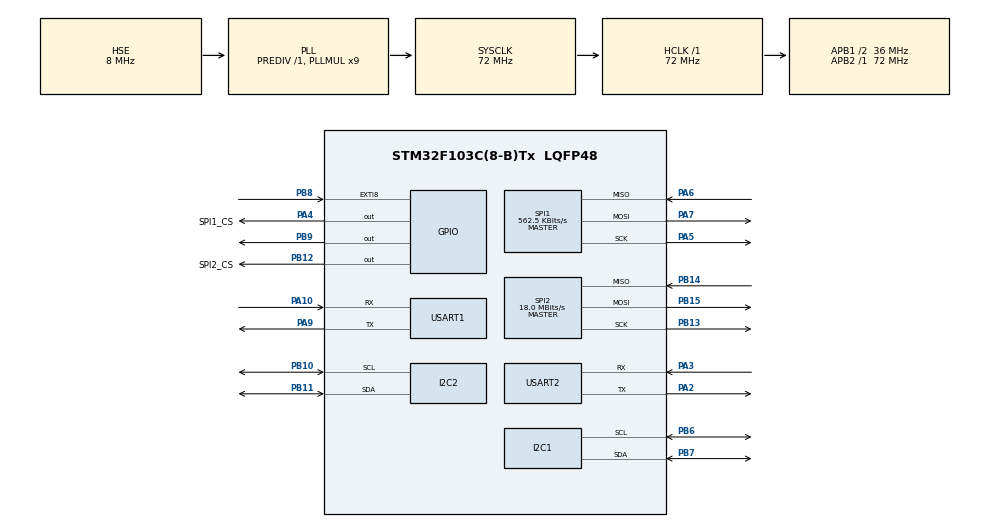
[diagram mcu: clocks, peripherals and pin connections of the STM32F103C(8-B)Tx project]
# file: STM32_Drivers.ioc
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Dma.Request0=SPI1_RX
Dma.Request1=SPI1_TX
Dma.Request2=USART1_RX
Dma.Request3=USART1_TX
Dma.SPI1_RX.0.Direction=DMA_PERIPH_TO_MEMORY
Dma.SPI1_RX.0.Instance=DMA1_Channel2
Dma.SPI1_RX.0.MemDataAlignment=DMA_MDATAALIGN_BYTE
Dma.SPI1_RX.0.MemInc=DMA_MINC_ENABLE
Dma.SPI1_RX.0.Mode=DMA_NORMAL
Dma.SPI1_RX.0.PeriphDataAlignment=DMA_PDATAALIGN_BYTE
Dma.SPI1_RX.0.PeriphInc=DMA_PINC_DISABLE
Dma.SPI1_RX.0.Priority=DMA_PRIORITY_HIGH
Dma.SPI1_TX.1.Direction=DMA_MEMORY_TO_PERIPH
Dma.SPI1_TX.1.Instance=DMA1_Channel3
Dma.SPI1_TX.1.MemDataAlignment=DMA_MDATAALIGN_BYTE
Dma.SPI1_TX.1.MemInc=DMA_MINC_ENABLE
Dma.SPI1_TX.1.Mode=DMA_NORMAL
Dma.SPI1_TX.1.PeriphDataAlignment=DMA_PDATAALIGN_BYTE
Dma.SPI1_TX.1.PeriphInc=DMA_PINC_DISABLE
Dma.SPI1_TX.1.Priority=DMA_PRIORITY_HIGH
Dma.USART1_RX.2.Direction=DMA_PERIPH_TO_MEMORY
Dma.USART1_RX.2.Instance=DMA1_Channel5
Dma.USART1_RX.2.MemDataAlignment=DMA_MDATAALIGN_BYTE
Dma.USART1_RX.2.MemInc=DMA_MINC_ENABLE
Dma.USART1_RX.2.Mode=DMA_NORMAL
Dma.USART1_RX.2.PeriphDataAlignment=DMA_PDATAALIGN_BYTE
Dma.USART1_RX.2.PeriphInc=DMA_PINC_DISABLE
Dma.USART1_RX.2.Priority=DMA_PRIORITY_HIGH
Dma.USART1_TX.3.Direction=DMA_MEMORY_TO_PERIPH
Dma.USART1_TX.3.Instance=DMA1_Channel4
Dma.USART1_TX.3.MemDataAlignment=DMA_MDATAALIGN_BYTE
Dma.USART1_TX.3.MemInc=DMA_MINC_ENABLE
Dma.USART1_TX.3.Mode=DMA_NORMAL
Dma.USART1_TX.3.PeriphDataAlignment=DMA_PDATAALIGN_BYTE
Dma.USART1_TX.3.PeriphInc=DMA_PINC_DISABLE
Dma.USART1_TX.3.Priority=DMA_PRIORITY_HIGH
I2C2.I2C_Mode=I2C_Fast
Mcu.Family=STM32F1
Mcu.Name=STM32F103C(8-B)Tx
Mcu.Package=LQFP48
NVIC.DMA1_Channel2_IRQn=true\:6\:0\:true\:false\:true\:false\:true\:true
NVIC.DMA1_Channel3_IRQn=true\:6\:0\:true\:false\:true\:false\:true\:true
NVIC.DMA1_Channel4_IRQn=true\:0\:0\:false\:false\:true\:false\:true\:true
NVIC.DMA1_Channel5_IRQn=true\:0\:0\:false\:false\:true\:false\:true\:true
NVIC.EXTI9_5_IRQn=true\:0\:0\:false\:false\:true\:true\:true\:true
NVIC.I2C1_ER_IRQn=true\:7\:0\:true\:false\:true\:true\:true\:true
NVIC.I2C1_EV_IRQn=true\:7\:0\:true\:false\:true\:true\:true\:true
NVIC.I2C2_ER_IRQn=true\:7\:0\:true\:false\:true\:true\:true\:true
NVIC.I2C2_EV_IRQn=true\:7\:0\:true\:false\:true\:true\:true\:true
NVIC.PriorityGroup=NVIC_PRIORITYGROUP_4
NVIC.TIM2_IRQn=true\:15\:0\:false\:false\:true\:false\:true\:true
NVIC.TimeBase=TIM2_IRQn
NVIC.TimeBaseIP=TIM2
PA10.Mode=Asynchronous
PA10.Signal=USART1_RX
PA13.Mode=Trace_Asynchronous_SW
PA13.Signal=SYS_JTMS-SWDIO
PA14.Mode=Trace_Asynchronous_SW
PA14.Signal=SYS_JTCK-SWCLK
PA2.Mode=Asynchronous
PA2.Signal=USART2_TX
PA3.Mode=Asynchronous
PA3.Signal=USART2_RX
PA4.GPIO_Label=SPI1_CS
PA4.GPIO_Speed=GPIO_SPEED_FREQ_HIGH
PA4.PinState=GPIO_PIN_SET
PA4.Signal=GPIO_Output
PA5.Mode=Full_Duplex_Master
PA5.Signal=SPI1_SCK
PA6.Mode=Full_Duplex_Master
PA6.Signal=SPI1_MISO
PA7.Mode=Full_Duplex_Master
PA7.Signal=SPI1_MOSI
PA9.Mode=Asynchronous
PA9.Signal=USART1_TX
PB10.Mode=I2C
PB10.Signal=I2C2_SCL
PB11.Mode=I2C
PB11.Signal=I2C2_SDA
PB12.GPIO_Label=SPI2_CS
PB12.Signal=GPIO_Output
PB13.Mode=Full_Duplex_Master
PB13.Signal=SPI2_SCK
PB14.Mode=Full_Duplex_Master
PB14.Signal=SPI2_MISO
PB15.Mode=Full_Duplex_Master
PB15.Signal=SPI2_MOSI
PB3.Mode=Trace_Asynchronous_SW
PB3.Signal=SYS_JTDO-TRACESWO
PB6.Mode=I2C
PB6.Signal=I2C1_SCL
PB7.Mode=I2C
PB7.Signal=I2C1_SDA
PB8.GPIO_PuPd=GPIO_PULLUP
PB8.Signal=GPXTI8
PB9.GPIO_ModeDefaultOutputPP=GPIO_MODE_OUTPUT_OD
PB9.GPIO_PuPd=GPIO_PULLUP
PB9.Signal=GPIO_Output
PD0-OSC_IN.Mode=HSE-External-Oscillator
PD0-OSC_IN.Signal=RCC_OSC_IN
PD1-OSC_OUT.Mode=HSE-External-Oscillator
PD1-OSC_OUT.Signal=RCC_OSC_OUT
ProjectManager.HeapSize=0x200
ProjectManager.StackSize=0x400
ProjectManager.TargetToolchain=STM32CubeIDE
RCC.AHBFreq_Value=72000000
RCC.APB1CLKDivider=RCC_HCLK_DIV2
RCC.APB1Freq_Value=36000000
RCC.APB1TimFreq_Value=72000000
RCC.APB2Freq_Value=72000000
RCC.APB2TimFreq_Value=72000000
RCC.HCLKFreq_Value=72000000
RCC.PLLMUL=RCC_PLL_MUL9
RCC.PLLSourceVirtual=RCC_PLLSOURCE_HSE
RCC.SYSCLKFreq_VALUE=72000000
RCC.SYSCLKSource=RCC_SYSCLKSOURCE_PLLCLK
RCC.USBFreq_Value=72000000
SPI1.BaudRatePrescaler=SPI_BAUDRATEPRESCALER_128
SPI1.CalculateBaudRate=562.5 KBits/s
SPI1.Direction=SPI_DIRECTION_2LINES
SPI1.Mode=SPI_MODE_MASTER
SPI1.VirtualType=VM_MASTER
SPI2.CalculateBaudRate=18.0 MBits/s
SPI2.Direction=SPI_DIRECTION_2LINES
SPI2.Mode=SPI_MODE_MASTER
SPI2.VirtualType=VM_MASTER
USART1.VirtualMode=VM_ASYNC
USART2.VirtualMode=VM_ASYNC
VP_SYS_VS_tim2.Mode=TIM2
board=custom

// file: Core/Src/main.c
/* USER CODE BEGIN Header */
/**
  ******************************************************************************
  * @file           : main.c
  * @brief          : Main program body
  ******************************************************************************
  * @attention
  *
  * Copyright (c) 2026 STMicroelectronics.
  * All rights reserved.
  *
  * This software is licensed under terms that can be found in the LICENSE file
  * in the root directory of this software component.
  * If no LICENSE file comes with this software, it is provided AS-IS.
  *
  ******************************************************************************
  */
/* USER CODE END Header */
#include "main.h"
#include "dma.h"
#include "i2c.h"
#include "spi.h"
#include "usart.h"
#include "gpio.h"

/* USER CODE BEGIN Includes */
#include "FreeRTOS.h"
#include "task.h"
#include "semphr.h"
#include "storage.h"
#include "lcd_driver.h"
#include "cmd_collect_task.h"
#include "command_task.h"
#include "logger_task.h"
#include "lcd_task.h"
//#include "lcd_wrapper.h"
#include "flowmeter_driver.h"
#include "aht.h"
#include "keypad_driver.h"
#include "keypad_task.h"
#include "keypad_4x4.h" // atau keypad_3x4.h, keypad_5x5.h
#include "app_task.h"
#include "usart_protocol.h"
#include "delay.h"
/* USER CODE END Includes */

/* USER CODE BEGIN PV */

SPI_Context SDCard_Ctx;
I2C_RTCDevice DS3231_Ctx;
AHT_Device aht;
FlowSensor_t flowSensor;
I2C_LCDDevice Lcd_Ctx;
SemaphoreHandle_t SD_Card_Mutex;
I2C_KeypadDevice Keypad_Ctx;

QueueHandle_t uartQueue;

/* USER CODE END PV */

void SystemClock_Config(void);

int main(void)
{

  /* MCU Configuration--------------------------------------------------------*/

  /* Reset of all peripherals, Initializes the Flash interface and the Systick. */
  HAL_Init();

  /* Configure the system clock */
  SystemClock_Config();

  /* Initialize all configured peripherals */
  MX_GPIO_Init();
  MX_DMA_Init();
  MX_I2C1_Init();
  MX_SPI1_Init();
  MX_USART1_UART_Init();
  MX_SPI2_Init();
  MX_I2C2_Init();
  MX_USART2_UART_Init();
  /* USER CODE BEGIN 2 */
  SPI_Init(&spi1_ctx);
  SPI_Init(&spi2_ctx);
  I2C_Init(&i2c1_ctx);
  I2C_Init(&i2c2_ctx);
  UART_Init(&uart1_ctx, &huart1);
  UART_Init(&uart1_ctx, &huart2);

  uartQueue = xQueueCreate(10, sizeof(USART_Message));
//  I2C_ScanBus(&hi2c1);   // kalau pakai I2C1
//  xTaskCreate(cmd_collect_task, "cmd_collect_task", 256, NULL, 2, NULL);
//  xTaskCreate(vTaskCommand, "command_task", 256, NULL, 2, NULL);

  //Buat Mutex supaya SPI tidak bentrok
//  SD_Card_Mutex = xSemaphoreCreateMutex();
  //Init SDCard
  STORAGE_Init(&SDCard_Ctx);
  //Init DS3231
  DS3231_Init(&DS3231_Ctx, &i2c2_ctx);
  //Init DHT
  AHT_Init(&aht, &i2c2_ctx);
  //Init Flowmeter
  FlowSensor_Init(&flowSensor, YFS201, GPIOB, GPIO_PIN_11);
  //Init LCD
  LCD_Init(&Lcd_Ctx, &i2c1_ctx);
  //Init Keypad
  KEYPAD_Init(&Keypad_Ctx, &i2c2_ctx); // jika 4x4
  //Buat task logger
//  LCD_TaskCreate(tskIDLE_PRIORITY+1);
  //Buat task lcd
  LOGGER_TaskCreate(&SDCard_Ctx, &DS3231_Ctx, tskIDLE_PRIORITY+1);
  // buat task aplikasi (menu + LCD)
  APP_TaskCreate(tskIDLE_PRIORITY+3);
  // buat task keypad
  KEYPAD_TaskCreate(&Keypad_Ctx, tskIDLE_PRIORITY+2);
  COMMAND_TaskCreate(tskIDLE_PRIORITY+2);
  // Start scheduler
  vTaskStartScheduler();

  /* USER CODE END 2 */

  /* Infinite loop */
  while (1)
  {

  }
}

void SystemClock_Config(void)
{
  RCC_OscInitTypeDef RCC_OscInitStruct = {0};
  RCC_ClkInitTypeDef RCC_ClkInitStruct = {0};

  /** Initializes the RCC Oscillators according to the specified parameters
  * in the RCC_OscInitTypeDef structure.
  */
  RCC_OscInitStruct.OscillatorType = RCC_OSCILLATORTYPE_HSE;
  RCC_OscInitStruct.HSEState = RCC_HSE_ON;
  RCC_OscInitStruct.HSEPredivValue = RCC_HSE_PREDIV_DIV1;
  RCC_OscInitStruct.HSIState = RCC_HSI_ON;
  RCC_OscInitStruct.PLL.PLLState = RCC_PLL_ON;
  RCC_OscInitStruct.PLL.PLLSource = RCC_PLLSOURCE_HSE;
  RCC_OscInitStruct.PLL.PLLMUL = RCC_PLL_MUL9;
  if (HAL_RCC_OscConfig(&RCC_OscInitStruct) != HAL_OK)
  {
    Error_Handler();
  }

  /** Initializes the CPU, AHB and APB buses clocks
  */
  RCC_ClkInitStruct.ClockType = RCC_CLOCKTYPE_HCLK|RCC_CLOCKTYPE_SYSCLK
                              |RCC_CLOCKTYPE_PCLK1|RCC_CLOCKTYPE_PCLK2;
  RCC_ClkInitStruct.SYSCLKSource = RCC_SYSCLKSOURCE_PLLCLK;
  RCC_ClkInitStruct.AHBCLKDivider = RCC_SYSCLK_DIV1;
  RCC_ClkInitStruct.APB1CLKDivider = RCC_HCLK_DIV2;
  RCC_ClkInitStruct.APB2CLKDivider = RCC_HCLK_DIV1;

  if (HAL_RCC_ClockConfig(&RCC_ClkInitStruct, FLASH_LATENCY_2) != HAL_OK)
  {
    Error_Handler();
  }
}

void HAL_TIM_PeriodElapsedCallback(TIM_HandleTypeDef *htim)
{
  if (htim->Instance == TIM2)
  {
    HAL_IncTick();
  }
}

void Error_Handler(void)
{
  __disable_irq();
  while (1)
  {
  }
}
